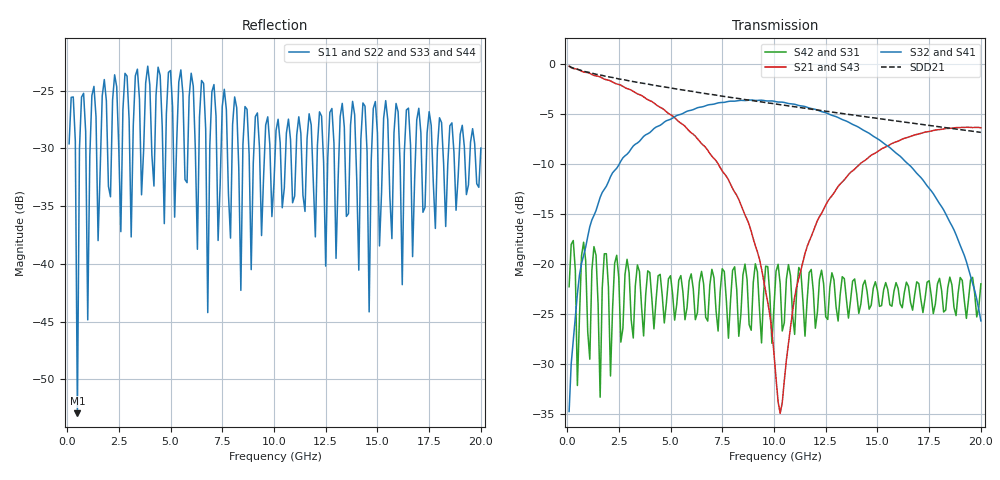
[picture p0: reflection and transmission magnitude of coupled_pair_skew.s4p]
! Generated by Interconnect Studio
# GHZ S RI R 50
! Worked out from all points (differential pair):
!   200 points, 100 MHz to 20 GHz, reference 50 ohm
!   strongest paths, dB at 100 MHz, 5.1 GHz, 10.1 GHz, 15.1 GHz, 20 GHz:
!     S32: -34.7, -5.4, -3.8, -7.6, -25.7
!     S41: -34.7, -5.4, -3.8, -7.6, -25.7
!     S21: -0.2, -5.2, -31.4, -8.6, -6.4
!     S43: -0.2, -5.2, -31.4, -8.6, -6.4
!     S42: -22.3, -23.0, -20.7, -24.2, -22.0
!     S31: -22.3, -23.0, -20.7, -24.2, -22.0
!   taken as a pair (ports 1,3 in; 2,4 out), SDD21 dB: -0.2, -2.4, -4.0, -5.5, -6.8
!   lowest |S11| = -52.9 dB at 500 MHz (marker M1), VSWR 1.00, Z = 50.1 - j0.182 ohm
!   |S11| at or under -10 dB: start of sweep to end of sweep
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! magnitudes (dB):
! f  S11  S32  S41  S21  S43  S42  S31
! 100 MHz  -29.6  -34.7  -34.7  -0.2  -0.2  -22.3  -22.3
! 500 MHz  -52.9  -23.0  -23.0  -0.5  -0.5  -32.1  -32.1
! 800 MHz  -25.2  -19.1  -19.1  -0.8  -0.8  -17.8  -17.8
! 1 GHz  -44.8  -17.2  -17.2  -0.9  -0.9  -26.8  -26.8
! 1.3 GHz  -24.6  -15.1  -15.1  -1.2  -1.2  -18.3  -18.3
! 10.3 GHz  -29.5  -3.8  -3.8  -34.9  -34.9  -22.0  -22.0
! 20 GHz  -30.0  -25.7  -25.7  -6.4  -6.4  -22.0  -22.0
